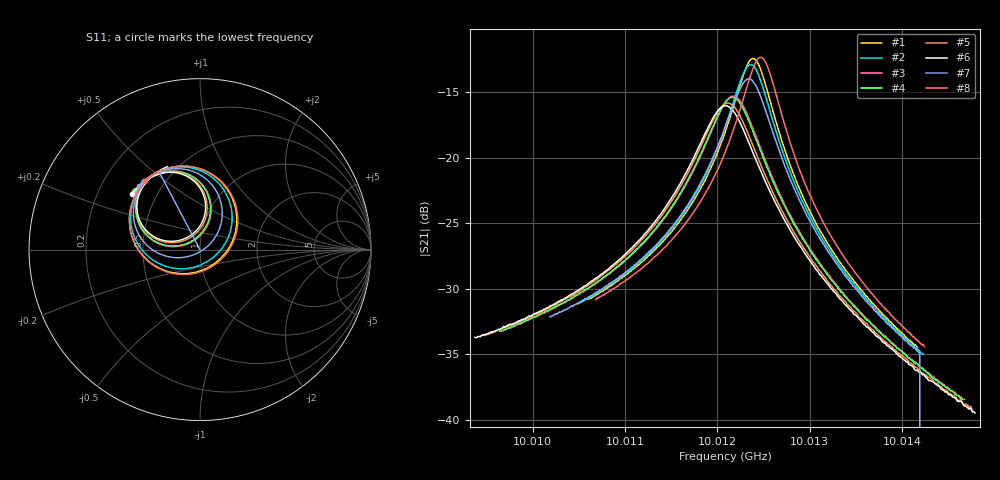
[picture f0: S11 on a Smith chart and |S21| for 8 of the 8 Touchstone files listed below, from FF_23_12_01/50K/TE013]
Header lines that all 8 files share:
#  HZ  S  RI  R  50.00
! Rohde & Schwarz Vector Network Analyzer
! Rohde-Schwarz,ZNB20-2Port,1311601062101988,3.16
! freq[Hz]  re:S11  im:S11  re:S21  im:S21  re:S12  im:S12  re:S22  im:S22
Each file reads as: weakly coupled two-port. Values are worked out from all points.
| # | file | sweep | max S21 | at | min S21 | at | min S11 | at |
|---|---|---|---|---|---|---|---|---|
| 1 | 25_3_48.1019_50.1302795_13838.521_.s2p | 10.0106 GHz to 10.01417 GHz | -12.43 dB | 10.01239 GHz | -34.5 dB | 10.01417 GHz | -18.8 dB | 10.0124 GHz |
| 2 | 33_3_48.0995_50.1248589_18462.91_.s2p | 10.01049 GHz to 10.01423 GHz | -12.90 dB | 10.01236 GHz | -35.0 dB | 10.01422 GHz | -21.7 dB | 10.01237 GHz |
| 3 | 109_3_48.1026_50.0549736_64816.461_.s2p | 10.00968 GHz to 10.01465 GHz | -15.30 dB | 10.01217 GHz | -38.4 dB | 10.01465 GHz | -24.0 dB | 10.01219 GHz |
| 4 | 113_3_48.1011_50.0539856_67386.25_.s2p | 10.00964 GHz to 10.01468 GHz | -15.40 dB | 10.01216 GHz | -38.5 dB | 10.01466 GHz | -23.3 dB | 10.01218 GHz |
| 5 | 133_3_48.0968_50.0320702_79519.828_.s2p | 10.00946 GHz to 10.01476 GHz | -15.83 dB | 10.01211 GHz | -39.2 dB | 10.01476 GHz | -20.9 dB | 10.01214 GHz |
| 6 | 143_3_48.1004_50.0262222_85566.281_.s2p | 10.00938 GHz to 10.01479 GHz | -16.03 dB | 10.01208 GHz | -39.5 dB | 10.01479 GHz | -20.0 dB | 10.01211 GHz |
| 7 | 244_3_48.0996_50.1245308_34696.098_.s2p | 10.01019 GHz to 10.01448 GHz | -13.98 dB | 10.01234 GHz | -34.9 dB | 10.01419 GHz | -39.0 dB | 10.01236 GHz |
| 8 | 283_3_48.1011_50.164669_11301.975_.s2p | 10.01068 GHz to 10.01425 GHz | -12.33 dB | 10.01247 GHz | -34.4 dB | 10.01425 GHz | -18.3 dB | 10.01248 GHz |
